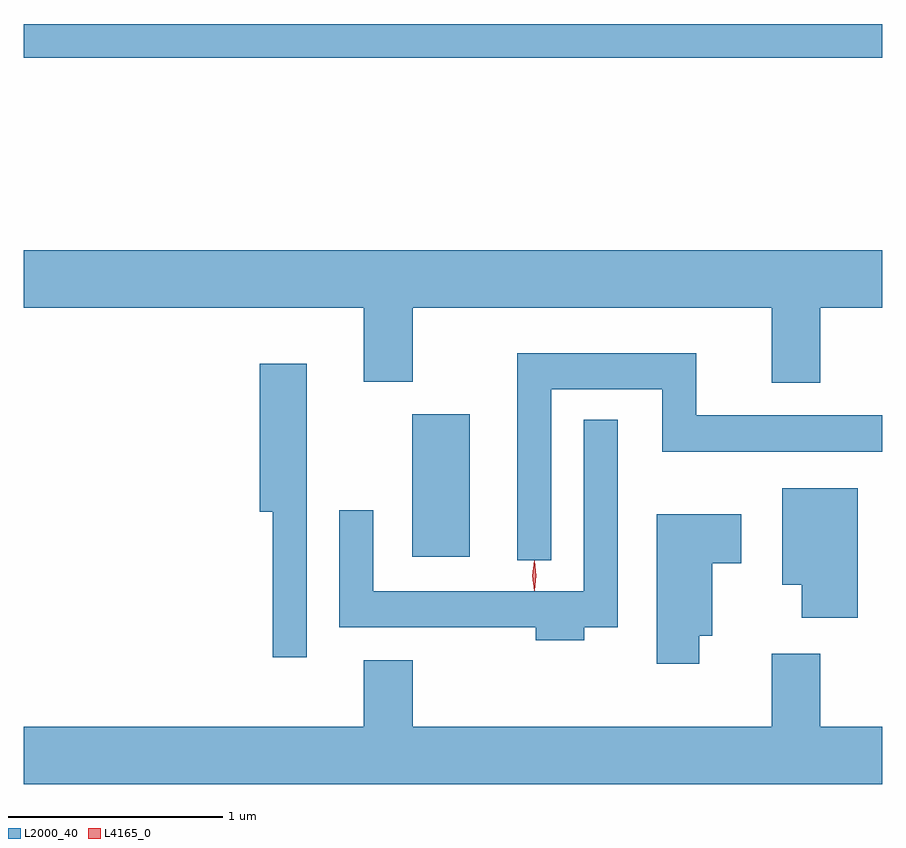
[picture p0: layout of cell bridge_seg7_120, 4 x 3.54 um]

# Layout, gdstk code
import gdstk
lib = gdstk.Library(unit=1e-6, precision=1e-09)
def R(c, l, rs):  # rectangles x0, y0, x1, y1
    for r in rs: c.add(gdstk.rectangle(r[:2], r[2:], *l))
def P(c, l, *ps):  # polygons
    for p in ps: c.add(gdstk.Polygon(p, *l))
L2000_40 = (2000, 40)
L4165_0 = (4165, 0)

bridge_seg7_120 = lib.new_cell('bridge_seg7_120')
R(bridge_seg7_120, L2000_40, [(1562.066,1788.636,1562.334,1789.299), (1560.256,1790.961,1564.256,1791.119)])
P(bridge_seg7_120, L2000_40, [(1563.969,1789.796),(1564.256,1789.796),(1564.256,1790.064),(1560.256,1790.064),(1560.256,1789.796),(1561.841,1789.796),(1561.841,1789.451),(1562.069,1789.451),(1562.069,1789.796),(1563.741,1789.796),(1563.741,1789.446),(1563.969,1789.446)],
  [(1562.714,1789.416),(1563.231,1789.416),(1563.231,1789.126),(1564.256,1789.126),(1564.256,1789.294),(1563.389,1789.294),(1563.389,1789.584),(1562.556,1789.584),(1562.556,1788.618),(1562.714,1788.618)],
  [(1561.574,1789.534),(1561.356,1789.534),(1561.356,1788.846),(1561.416,1788.846),(1561.416,1788.168),(1561.574,1788.168)],
  [(1562.869,1788.306),(1563.024,1788.306),(1563.024,1789.273),(1562.866,1789.273),(1562.866,1788.474),(1561.884,1788.474),(1561.884,1788.853),(1561.726,1788.853),(1561.726,1788.306),(1562.641,1788.306),(1562.641,1788.246),(1562.869,1788.246)],
  [(1564.144,1788.954),(1563.791,1788.954),(1563.791,1788.506),(1563.881,1788.506),(1563.881,1788.351),(1564.144,1788.351)],
  [(1563.404,1788.266),(1563.464,1788.266),(1563.464,1788.606),(1563.599,1788.606),(1563.599,1788.834),(1563.206,1788.834),(1563.206,1788.136),(1563.404,1788.136)],
  [(1564.256,1787.844),(1563.969,1787.844),(1563.969,1788.184),(1563.741,1788.184),(1563.741,1787.844),(1562.069,1787.844),(1562.069,1788.154),(1561.841,1788.154),(1561.841,1787.844),(1560.256,1787.844),(1560.256,1787.576),(1564.256,1787.576)])
P(bridge_seg7_120, L4165_0, [(1562.634,1788.477),(1562.625,1788.546),(1562.634,1788.616),(1562.635,1788.616),(1562.636,1788.616),(1562.645,1788.546),(1562.636,1788.477),(1562.635,1788.477)],
  [(1562.635,1788.479),(1562.634,1788.48),(1562.625,1788.546),(1562.634,1788.612),(1562.635,1788.613),(1562.635,1788.612),(1562.645,1788.546),(1562.635,1788.48)])

lib.write_gds('bridge_seg7_120.gds')
